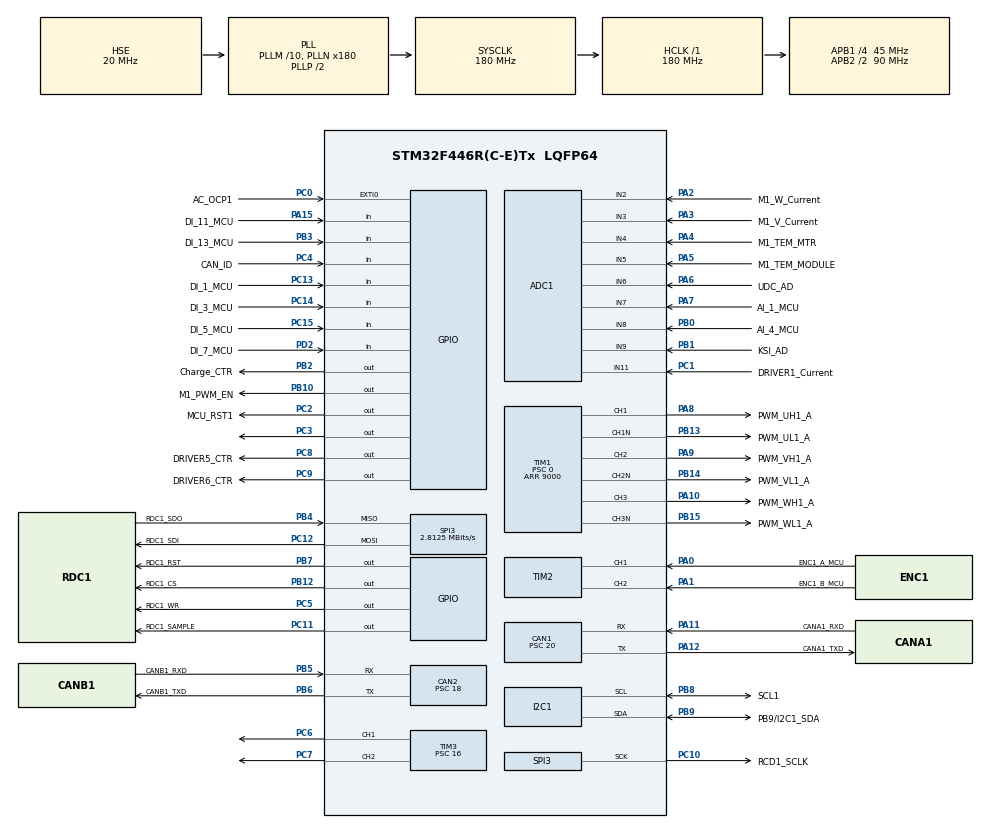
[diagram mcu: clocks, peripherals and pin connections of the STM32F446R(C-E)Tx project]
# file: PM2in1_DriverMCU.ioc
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ADC1.Channel-1\#ChannelRegularConversion=ADC_CHANNEL_TEMPSENSOR
ADC1.Channel-25\#ChannelRegularConversion=ADC_CHANNEL_8
ADC1.Channel-26\#ChannelRegularConversion=ADC_CHANNEL_4
ADC1.Channel-27\#ChannelRegularConversion=ADC_CHANNEL_5
ADC1.Channel-28\#ChannelRegularConversion=ADC_CHANNEL_9
ADC1.Channel-29\#ChannelRegularConversion=ADC_CHANNEL_7
ADC1.Channel-30\#ChannelRegularConversion=ADC_CHANNEL_6
ADC1.Channel-31\#ChannelRegularConversion=ADC_CHANNEL_11
ADC1.Channel-32\#ChannelRegularConversion=ADC_CHANNEL_2
ADC1.Channel-33\#ChannelRegularConversion=ADC_CHANNEL_3
ADC1.DMAContinuousRequests=ENABLE
ADC1.EOCSelection=ADC_EOC_SEQ_CONV
ADC1.EnableAnalogWatchDog=false
ADC1.ExternalTrigConv=ADC_EXTERNALTRIGCONV_T8_TRGO
ADC1.InjNumberOfConversion=0
ADC1.NbrOfConversion=10
ADC1.NbrOfConversionFlag=1
ADC1.Rank-1\#ChannelRegularConversion=1
ADC1.Rank-25\#ChannelRegularConversion=2
ADC1.Rank-26\#ChannelRegularConversion=3
ADC1.Rank-27\#ChannelRegularConversion=4
ADC1.Rank-28\#ChannelRegularConversion=5
ADC1.Rank-29\#ChannelRegularConversion=6
ADC1.Rank-30\#ChannelRegularConversion=7
ADC1.Rank-31\#ChannelRegularConversion=8
ADC1.Rank-32\#ChannelRegularConversion=9
ADC1.Rank-33\#ChannelRegularConversion=10
ADC1.SamplingTime-1\#ChannelRegularConversion=ADC_SAMPLETIME_3CYCLES
ADC1.SamplingTime-25\#ChannelRegularConversion=ADC_SAMPLETIME_3CYCLES
ADC1.SamplingTime-26\#ChannelRegularConversion=ADC_SAMPLETIME_3CYCLES
ADC1.SamplingTime-27\#ChannelRegularConversion=ADC_SAMPLETIME_3CYCLES
ADC1.SamplingTime-28\#ChannelRegularConversion=ADC_SAMPLETIME_3CYCLES
ADC1.SamplingTime-29\#ChannelRegularConversion=ADC_SAMPLETIME_3CYCLES
ADC1.SamplingTime-30\#ChannelRegularConversion=ADC_SAMPLETIME_3CYCLES
ADC1.SamplingTime-31\#ChannelRegularConversion=ADC_SAMPLETIME_3CYCLES
ADC1.SamplingTime-32\#ChannelRegularConversion=ADC_SAMPLETIME_3CYCLES
ADC1.SamplingTime-33\#ChannelRegularConversion=ADC_SAMPLETIME_3CYCLES
ADC1.ScanConvMode=ENABLE
ADC1.master=1
CAN1.ABOM=ENABLE
CAN1.AWUM=ENABLE
CAN1.BS1=CAN_BS1_14TQ
CAN1.BS2=CAN_BS2_3TQ
CAN1.CalculateBaudRate=125000
CAN1.CalculateTimeBit=8000
CAN1.CalculateTimeQuantum=444.44444444444446
CAN1.NART=DISABLE
CAN1.Prescaler=20
CAN2.ABOM=DISABLE
CAN2.AWUM=ENABLE
CAN2.BS1=CAN_BS1_3TQ
CAN2.BS2=CAN_BS2_1TQ
CAN2.CalculateBaudRate=500000
CAN2.CalculateTimeBit=2000
CAN2.CalculateTimeQuantum=400.0
CAN2.Prescaler=18
Dma.ADC1.0.Direction=DMA_PERIPH_TO_MEMORY
Dma.ADC1.0.FIFOMode=DMA_FIFOMODE_DISABLE
Dma.ADC1.0.Instance=DMA2_Stream0
Dma.ADC1.0.MemDataAlignment=DMA_MDATAALIGN_HALFWORD
Dma.ADC1.0.MemInc=DMA_MINC_ENABLE
Dma.ADC1.0.Mode=DMA_CIRCULAR
Dma.ADC1.0.PeriphDataAlignment=DMA_PDATAALIGN_HALFWORD
Dma.ADC1.0.PeriphInc=DMA_PINC_DISABLE
Dma.ADC1.0.Priority=DMA_PRIORITY_LOW
Dma.Request0=ADC1
I2C1.NoStretchMode=I2C_NOSTRETCH_ENABLE
Mcu.Family=STM32F4
Mcu.Name=STM32F446R(C-E)Tx
Mcu.Package=LQFP64
NVIC.CAN1_RX0_IRQn=true\:1\:0\:true\:false\:true\:true\:true\:true
NVIC.CAN2_RX1_IRQn=true\:1\:0\:true\:false\:true\:true\:true\:true
NVIC.DMA2_Stream0_IRQn=true\:0\:0\:false\:false\:true\:false\:true\:true
NVIC.EXTI0_IRQn=true\:0\:0\:false\:false\:true\:true\:true\:true
NVIC.PriorityGroup=NVIC_PRIORITYGROUP_4
NVIC.TIM6_DAC_IRQn=true\:0\:0\:false\:false\:true\:true\:true\:true
PA0-WKUP.GPIO_Label=ENC1_A_MCU
PA0-WKUP.Signal=S_TIM2_CH1_ETR
PA1.GPIO_Label=ENC1_B_MCU
PA1.Signal=S_TIM2_CH2
PA10.GPIO_Label=PWM_WH1_A
PA10.Signal=S_TIM1_CH3
PA11.GPIO_Label=CANA1_RXD
PA11.Mode=CAN_Activate
PA11.Signal=CAN1_RX
PA12.GPIO_Label=CANA1_TXD
PA12.Mode=CAN_Activate
PA12.Signal=CAN1_TX
PA15.GPIO_Label=DI_11_MCU
PA15.Signal=GPIO_Input
PA2.GPIO_Label=M1_W_Current
PA2.Signal=ADCx_IN2
PA3.GPIO_Label=M1_V_Current
PA3.Signal=ADCx_IN3
PA4.GPIO_Label=M1_TEM_MTR
PA4.Signal=ADCx_IN4
PA5.GPIO_Label=M1_TEM_MODULE
PA5.Signal=ADCx_IN5
PA6.GPIO_Label=UDC_AD
PA6.Signal=ADCx_IN6
PA7.GPIO_Label=AI_1_MCU
PA7.Signal=ADCx_IN7
PA8.GPIO_Label=PWM_UH1_A
PA8.Signal=S_TIM1_CH1
PA9.GPIO_Label=PWM_VH1_A
PA9.Signal=S_TIM1_CH2
PB0.GPIO_Label=AI_4_MCU
PB0.Signal=ADCx_IN8
PB1.GPIO_Label=KSI_AD
PB1.Signal=ADCx_IN9
PB10.GPIO_Label=M1_PWM_EN
PB10.Signal=GPIO_Output
PB12.GPIO_Label=RDC1_CS
PB12.Signal=GPIO_Output
PB13.GPIO_Label=PWM_UL1_A
PB13.Mode=PWM Generation1 CH1 CH1N
PB13.Signal=TIM1_CH1N
PB14.GPIO_Label=PWM_VL1_A
PB14.Mode=PWM Generation2 CH2 CH2N
PB14.Signal=TIM1_CH2N
PB15.GPIO_Label=PWM_WL1_A
PB15.Mode=PWM Generation3 CH3 CH3N
PB15.Signal=TIM1_CH3N
PB2.GPIO_Label=Charge_CTR
PB2.Signal=GPIO_Output
PB3.GPIO_Label=DI_13_MCU
PB3.Signal=GPIO_Input
PB4.GPIO_Label=RDC1_SDO
PB4.Mode=Full_Duplex_Master
PB4.Signal=SPI3_MISO
PB5.GPIO_Label=CANB1_RXD
PB5.Mode=CAN_Activate
PB5.Signal=CAN2_RX
PB6.GPIO_Label=CANB1_TXD
PB6.Mode=CAN_Activate
PB6.Signal=CAN2_TX
PB7.GPIO_Label=RDC1_RST
PB7.Signal=GPIO_Output
PB8.GPIO_Label=SCL1
PB8.Mode=I2C
PB8.Signal=I2C1_SCL
PB9.GPIO_Label=PB9/I2C1_SDA
PB9.Mode=I2C
PB9.Signal=I2C1_SDA
PC0.GPIO_Label=AC_OCP1
PC0.GPIO_ModeDefaultEXTI=GPIO_MODE_IT_RISING
PC0.Signal=GPXTI0
PC1.GPIO_Label=DRIVER1_Current
PC1.Signal=ADCx_IN11
PC10.GPIO_Label=RCD1_SCLK
PC10.Mode=Full_Duplex_Master
PC10.Signal=SPI3_SCK
PC11.GPIO_Label=RDC1_SAMPLE
PC11.Signal=GPIO_Output
PC12.GPIO_Label=RDC1_SDI
PC12.Mode=Full_Duplex_Master
PC12.Signal=SPI3_MOSI
PC13.GPIO_Label=DI_1_MCU
PC13.Signal=GPIO_Input
PC14-OSC32_IN.GPIO_Label=DI_3_MCU
PC14-OSC32_IN.Signal=GPIO_Input
PC15-OSC32_OUT.GPIO_Label=DI_5_MCU
PC15-OSC32_OUT.Signal=GPIO_Input
PC2.GPIO_Label=MCU_RST1
PC2.Signal=GPIO_Output
PC3.Signal=GPIO_Output
PC4.GPIO_Label=CAN_ID
PC4.Signal=GPIO_Input
PC5.GPIO_Label=RDC1_WR
PC5.Signal=GPIO_Output
PC6.Signal=S_TIM3_CH1
PC7.Signal=S_TIM3_CH2
PC8.GPIO_Label=DRIVER5_CTR
PC8.Signal=GPIO_Output
PC9.GPIO_Label=DRIVER6_CTR
PC9.Signal=GPIO_Output
PD2.GPIO_Label=DI_7_MCU
PD2.Signal=GPIO_Input
PH0-OSC_IN.Mode=HSE-External-Oscillator
PH0-OSC_IN.Signal=RCC_OSC_IN
PH1-OSC_OUT.Mode=HSE-External-Oscillator
PH1-OSC_OUT.Signal=RCC_OSC_OUT
ProjectManager.HeapSize=0x200
ProjectManager.StackSize=0x400
ProjectManager.TargetToolchain=STM32CubeIDE
RCC.AHBFreq_Value=180000000
RCC.APB1CLKDivider=RCC_HCLK_DIV4
RCC.APB1Freq_Value=45000000
RCC.APB1TimFreq_Value=180000000
RCC.APB2CLKDivider=RCC_HCLK_DIV2
RCC.APB2Freq_Value=90000000
RCC.APB2TimFreq_Value=180000000
RCC.CortexFreq_Value=180000000
RCC.HCLKFreq_Value=180000000
RCC.HSE_VALUE=20000000
RCC.PLLM=10
RCC.PLLN=180
RCC.PLLSourceVirtual=RCC_PLLSOURCE_HSE
RCC.RCC_TIM_PRescaler_Selection=RCC_TIMPRES_ACTIVATED
RCC.SYSCLKFreq_VALUE=180000000
RCC.SYSCLKSource=RCC_SYSCLKSOURCE_PLLCLK
RCC.USBFreq_Value=180000000
RCC.VCOOutputFreq_Value=360000000
SH.ADCx_IN11.0=ADC1_IN11,IN11
SH.ADCx_IN2.0=ADC1_IN2,IN2
SH.ADCx_IN3.0=ADC1_IN3,IN3
SH.ADCx_IN4.0=ADC1_IN4,IN4
SH.ADCx_IN5.0=ADC1_IN5,IN5
SH.ADCx_IN6.0=ADC1_IN6,IN6
SH.ADCx_IN7.0=ADC1_IN7,IN7
SH.ADCx_IN8.0=ADC1_IN8,IN8
SH.ADCx_IN9.0=ADC1_IN9,IN9
SH.S_TIM1_CH1.0=TIM1_CH1,PWM Generation1 CH1 CH1N
SH.S_TIM1_CH2.0=TIM1_CH2,PWM Generation2 CH2 CH2N
SH.S_TIM1_CH3.0=TIM1_CH3,PWM Generation3 CH3 CH3N
SH.S_TIM2_CH1_ETR.0=TIM2_CH1,Encoder_Interface
SH.S_TIM2_CH2.0=TIM2_CH2,Encoder_Interface
SH.S_TIM3_CH1.0=TIM3_CH1,PWM Generation1 CH1
SH.S_TIM3_CH2.0=TIM3_CH2,PWM Generation2 CH2
SPI3.BaudRatePrescaler=SPI_BAUDRATEPRESCALER_16
SPI3.CLKPhase=SPI_PHASE_2EDGE
SPI3.CalculateBaudRate=2.8125 MBits/s
SPI3.Direction=SPI_DIRECTION_2LINES
SPI3.Mode=SPI_MODE_MASTER
SPI3.VirtualType=VM_MASTER
TIM1.Channel-PWM\ Generation1\ CH1\ CH1N=TIM_CHANNEL_1
TIM1.Channel-PWM\ Generation2\ CH2\ CH2N=TIM_CHANNEL_2
TIM1.Channel-PWM\ Generation3\ CH3\ CH3N=TIM_CHANNEL_3
TIM1.CounterMode=TIM_COUNTERMODE_CENTERALIGNED3
TIM1.DeadTime=226
TIM1.OCNPolarity_1=TIM_OCNPOLARITY_HIGH
TIM1.OCNPolarity_2=TIM_OCNPOLARITY_HIGH
TIM1.OCNPolarity_3=TIM_OCNPOLARITY_HIGH
TIM1.Period=9000
TIM1.Prescaler=0
TIM2.EncoderMode=TIM_ENCODERMODE_TI12
TIM3.AutoReloadPreload=TIM_AUTORELOAD_PRELOAD_ENABLE
TIM3.Channel-PWM\ Generation1\ CH1=TIM_CHANNEL_1
TIM3.Channel-PWM\ Generation2\ CH2=TIM_CHANNEL_2
TIM3.Period=9999
TIM3.Prescaler=16
TIM6.AutoReloadPreload=TIM_AUTORELOAD_PRELOAD_ENABLE
TIM6.Period=8999
TIM6.Prescaler=9
TIM8.CounterMode=TIM_COUNTERMODE_CENTERALIGNED3
TIM8.Period=18000
TIM8.TIM_MasterOutputTrigger=TIM_TRGO_UPDATE
TIM8.TIM_MasterSlaveMode=TIM_MASTERSLAVEMODE_DISABLE
VP_ADC1_TempSens_Input.Mode=IN-TempSens
VP_TIM1_VS_ClockSourceINT.Mode=Internal
VP_TIM3_VS_ClockSourceINT.Mode=Internal
VP_TIM6_VS_ClockSourceINT.Mode=Enable_Timer
VP_TIM8_VS_ClockSourceINT.Mode=Internal
board=custom

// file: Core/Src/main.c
/* USER CODE BEGIN Header */
/**
  ******************************************************************************
  * @file           : main.c
  * @brief          : Main program body
  ******************************************************************************
  * @attention
  *
  * Copyright (c) 2025 STMicroelectronics.
  * All rights reserved.
  *
  * This software is licensed under terms that can be found in the LICENSE file
  * in the root directory of this software component.
  * If no LICENSE file comes with this software, it is provided AS-IS.
  *
  ******************************************************************************
  */
/* USER CODE END Header */
#include "main.h"

/* USER CODE BEGIN Includes */
#include "can_cfg.h"
#include "can2_cfg.h"
#include "VehicleCtrl.h"
#include "f_public.h"
#include "tp.h"
#include "uds.h"
/* USER CODE END Includes */

ADC_HandleTypeDef hadc1;
DMA_HandleTypeDef hdma_adc1;

CAN_HandleTypeDef hcan1;
CAN_HandleTypeDef hcan2;

I2C_HandleTypeDef hi2c1;

SPI_HandleTypeDef hspi3;

TIM_HandleTypeDef htim1;
TIM_HandleTypeDef htim2;
TIM_HandleTypeDef htim3;
TIM_HandleTypeDef htim6;
TIM_HandleTypeDef htim8;

void SystemClock_Config(void);
void PeriphCommonClock_Config(void);
static void MX_GPIO_Init(void);
static void MX_DMA_Init(void);
static void MX_ADC1_Init(void);
static void MX_CAN1_Init(void);
static void MX_CAN2_Init(void);
static void MX_I2C1_Init(void);
static void MX_SPI3_Init(void);
static void MX_TIM1_Init(void);
static void MX_TIM2_Init(void);
static void MX_TIM3_Init(void);
static void MX_TIM8_Init(void);
static void MX_TIM6_Init(void);

/* USER CODE BEGIN 0 */
unsigned int ms_cnt=0;
 uint16_t uhADCxConvertedValue[12] = {0};
 extern HAL_StatusTypeDef CAN_Polling(void);
Uint8 McuRstFlg=0;
 extern  int    CanBusssoffCnt;
 uint16_t tec_num=0,rec_num=0;
/* USER CODE END 0 */

int main(void)
{

  /* USER CODE BEGIN 1 */
//uint16_t tmp=0;
//uint32_t tmp32=0;
  /* USER CODE END 1 */

  /* MCU Configuration--------------------------------------------------------*/

  /* Reset of all peripherals, Initializes the Flash interface and the Systick. */
  HAL_Init();

  /* Configure the system clock */
  SystemClock_Config();

  /* Configure the peripherals common clocks */
  PeriphCommonClock_Config();

  /* Initialize all configured peripherals */
  MX_GPIO_Init();
  MX_DMA_Init();
  MX_ADC1_Init();
  MX_CAN1_Init();
  MX_CAN2_Init();
  MX_I2C1_Init();
  MX_SPI3_Init();
  MX_TIM1_Init();
  MX_TIM2_Init();
  MX_TIM3_Init();
  MX_TIM8_Init();
  MX_TIM6_Init();
  /* USER CODE BEGIN 2 */
  McuRstFlg = 0;
  HAL_GPIO_WritePin(GPIOC,GPIO_PIN_2,GPIO_PIN_RESET);
  CAN1_Rx_Msg_Init();
  CAN1_Tx_Msg_Init();
  CAN2_Rx_Msg_Init();
  CAN2_Tx_Msg_Init();
  HAL_GPIO_WritePin(GPIOC,GPIO_PIN_2,GPIO_PIN_SET);
  McuRstFlg = 1;
  VehicleCtrlInit();
  MS5910_Init();
  HAL_NVIC_SetPriority(EXTI0_IRQn, 0, 0);
  HAL_NVIC_EnableIRQ(EXTI0_IRQn);
//   HAL_TIM_PWM_Start(&htim1, TIM_CHANNEL_1);
//   HAL_TIMEx_PWMN_Start(&htim1, TIM_CHANNEL_1);
//   HAL_TIM_PWM_Start(&htim1, TIM_CHANNEL_2);
//   HAL_TIMEx_PWMN_Start(&htim1, TIM_CHANNEL_2);
//   HAL_TIM_PWM_Start(&htim1, TIM_CHANNEL_3);
//   HAL_TIMEx_PWMN_Start(&htim1, TIM_CHANNEL_3);
   NvmReadAllData();
   InitForMotorApp();                  // 变量初始化（电流电压基值等硬件参数配置，和电机参数配置等）Step 4. User specific code
   HAL_TIM_Base_Start(&htim1);
   HAL_TIM_Base_Start(&htim8);
  HAL_TIM_PWM_Start(&htim3, TIM_CHANNEL_1);

   HAL_NVIC_SetPriority(TIM6_DAC_IRQn, 0, 0);  // 设置优先级
   HAL_NVIC_EnableIRQ(TIM6_DAC_IRQn);  // 使能中断
   HAL_TIM_Base_Start_IT(&htim6);

   /* Clear FIFO0 Overrun Flag */
   __HAL_CAN_CLEAR_FLAG(&hcan1, CAN_FLAG_FOV0);
   /* Clear FIFO 0 full Flag */
   __HAL_CAN_CLEAR_FLAG(&hcan1, CAN_FLAG_FF0);
  /* USER CODE END 2 */

  /* Infinite loop */
  /* USER CODE BEGIN WHILE */
   UDS_InitTask();
   TP_InitTask();
  while (1)
  {
    /* USER CODE END WHILE */

    /* USER CODE BEGIN 3 */
//	  HAL_IWDG_Refresh(&hiwdg);

	  TP_MainTask();
	  tec_num = ((CAN1->ESR)&0xFF000000)>>24;
	  rec_num = ((CAN1->ESR)&0x00FF0000)>>16;
	  if((HAL_CAN_GetError(&hcan1)== HAL_CAN_ERROR_BOF)||(HAL_CAN_GetError(&hcan1)== HAL_CAN_ERROR_EPV) || (CanBusssoffCnt >= 1500))
	  {
		  CanBusssoffCnt = 0;
		  HAL_CAN_DeInit(&hcan1);
		  MX_CAN1_Init();
		  CAN1_Rx_Msg_Init();
		  CAN1_Tx_Msg_Init();
	  }

		Can1_Rx_Process();

		Can2_Rx_Process();
	  if(ms_cnt >=2)		/* 4*0.5ms = 2ms */
	  {
		  ms_cnt=0;
		  Main2msMotor();
	  }
	if(Count2ms >= 2)
	{
		Can1_Tx_Message();
		UDS_MainTask();
		Count2ms = 0;
	}
	if(Count10ms >= 10)
	{
		Count10ms = 0;
		Can1_Tx_Process();
	}
	if(Count20ms >= 40)
	{
		Count20ms = 0;
	}
	if(Count50ms >= 100)
	{
		Count50ms = 0;
	}
	if(Count100ms >= 200)
	{
		Count100ms = 0;
    VehicleCtrlTboxBind​();
//		parameter_update();
	}
  }
  /* USER CODE END 3 */
}

void SystemClock_Config(void)
{
  RCC_OscInitTypeDef RCC_OscInitStruct = {0};
  RCC_ClkInitTypeDef RCC_ClkInitStruct = {0};

  /** Configure the main internal regulator output voltage
  */
  __HAL_RCC_PWR_CLK_ENABLE();
  __HAL_PWR_VOLTAGESCALING_CONFIG(PWR_REGULATOR_VOLTAGE_SCALE1);

  /** Initializes the RCC Oscillators according to the specified parameters
  * in the RCC_OscInitTypeDef structure.
  */
  RCC_OscInitStruct.OscillatorType = RCC_OSCILLATORTYPE_HSE;
  RCC_OscInitStruct.HSEState = RCC_HSE_ON;
  RCC_OscInitStruct.PLL.PLLState = RCC_PLL_ON;
  RCC_OscInitStruct.PLL.PLLSource = RCC_PLLSOURCE_HSE;
  RCC_OscInitStruct.PLL.PLLM = 10;
  RCC_OscInitStruct.PLL.PLLN = 180;
  RCC_OscInitStruct.PLL.PLLP = RCC_PLLP_DIV2;
  RCC_OscInitStruct.PLL.PLLQ = 2;
  RCC_OscInitStruct.PLL.PLLR = 2;
  if (HAL_RCC_OscConfig(&RCC_OscInitStruct) != HAL_OK)
  {
    Error_Handler();
  }

  /** Activate the Over-Drive mode
  */
  if (HAL_PWREx_EnableOverDrive() != HAL_OK)
  {
    Error_Handler();
  }

  /** Initializes the CPU, AHB and APB buses clocks
  */
  RCC_ClkInitStruct.ClockType = RCC_CLOCKTYPE_HCLK|RCC_CLOCKTYPE_SYSCLK
                              |RCC_CLOCKTYPE_PCLK1|RCC_CLOCKTYPE_PCLK2;
  RCC_ClkInitStruct.SYSCLKSource = RCC_SYSCLKSOURCE_PLLCLK;
  RCC_ClkInitStruct.AHBCLKDivider = RCC_SYSCLK_DIV1;
  RCC_ClkInitStruct.APB1CLKDivider = RCC_HCLK_DIV4;
  RCC_ClkInitStruct.APB2CLKDivider = RCC_HCLK_DIV2;

  if (HAL_RCC_ClockConfig(&RCC_ClkInitStruct, FLASH_LATENCY_5) != HAL_OK)
  {
    Error_Handler();
  }
}

void PeriphCommonClock_Config(void)
{
  RCC_PeriphCLKInitTypeDef PeriphClkInitStruct = {0};

  /** Initializes the peripherals clock
  */
  PeriphClkInitStruct.PeriphClockSelection = RCC_PERIPHCLK_TIM;
  PeriphClkInitStruct.TIMPresSelection = RCC_TIMPRES_ACTIVATED;
  if (HAL_RCCEx_PeriphCLKConfig(&PeriphClkInitStruct) != HAL_OK)
  {
    Error_Handler();
  }
}

static void MX_ADC1_Init(void)
{

  ADC_ChannelConfTypeDef sConfig = {0};

  /** Configure the global features of the ADC (Clock, Resolution, Data Alignment and number of conversion)
  */
  hadc1.Instance = ADC1;
  hadc1.Init.ClockPrescaler = ADC_CLOCK_SYNC_PCLK_DIV4;
  hadc1.Init.Resolution = ADC_RESOLUTION_12B;
  hadc1.Init.ScanConvMode = ENABLE;
  hadc1.Init.ContinuousConvMode = DISABLE;
  hadc1.Init.DiscontinuousConvMode = DISABLE;
  hadc1.Init.ExternalTrigConvEdge = ADC_EXTERNALTRIGCONVEDGE_RISING;
  hadc1.Init.ExternalTrigConv = ADC_EXTERNALTRIGCONV_T8_TRGO;
  hadc1.Init.DataAlign = ADC_DATAALIGN_RIGHT;
  hadc1.Init.NbrOfConversion = 10;
  hadc1.Init.DMAContinuousRequests = ENABLE;
  hadc1.Init.EOCSelection = ADC_EOC_SEQ_CONV;
  if (HAL_ADC_Init(&hadc1) != HAL_OK)
  {
    Error_Handler();
  }

  /** Configure for the selected ADC regular channel its corresponding rank in the sequencer and its sample time.
  */
  sConfig.Channel = ADC_CHANNEL_TEMPSENSOR;
  sConfig.Rank = 1;
  sConfig.SamplingTime = ADC_SAMPLETIME_3CYCLES;
  if (HAL_ADC_ConfigChannel(&hadc1, &sConfig) != HAL_OK)
  {
    Error_Handler();
  }

  /** Configure for the selected ADC regular channel its corresponding rank in the sequencer and its sample time.
  */
  sConfig.Channel = ADC_CHANNEL_8;
  sConfig.Rank = 2;
  if (HAL_ADC_ConfigChannel(&hadc1, &sConfig) != HAL_OK)
  {
    Error_Handler();
  }

  /** Configure for the selected ADC regular channel its corresponding rank in the sequencer and its sample time.
  */
  sConfig.Channel = ADC_CHANNEL_4;
  sConfig.Rank = 3;
  if (HAL_ADC_ConfigChannel(&hadc1, &sConfig) != HAL_OK)
  {
    Error_Handler();
  }

  /** Configure for the selected ADC regular channel its corresponding rank in the sequencer and its sample time.
  */
  sConfig.Channel = ADC_CHANNEL_5;
  sConfig.Rank = 4;
  if (HAL_ADC_ConfigChannel(&hadc1, &sConfig) != HAL_OK)
  {
    Error_Handler();
  }

  /** Configure for the selected ADC regular channel its corresponding rank in the sequencer and its sample time.
  */
  sConfig.Channel = ADC_CHANNEL_9;
  sConfig.Rank = 5;
  if (HAL_ADC_ConfigChannel(&hadc1, &sConfig) != HAL_OK)
  {
    Error_Handler();
  }

  /** Configure for the selected ADC regular channel its corresponding rank in the sequencer and its sample time.
  */
  sConfig.Channel = ADC_CHANNEL_7;
  sConfig.Rank = 6;
  if (HAL_ADC_ConfigChannel(&hadc1, &sConfig) != HAL_OK)
  {
    Error_Handler();
  }

  /** Configure for the selected ADC regular channel its corresponding rank in the sequencer and its sample time.
  */
  sConfig.Channel = ADC_CHANNEL_6;
  sConfig.Rank = 7;
  if (HAL_ADC_ConfigChannel(&hadc1, &sConfig) != HAL_OK)
  {
    Error_Handler();
  }

  /** Configure for the selected ADC regular channel its corresponding rank in the sequencer and its sample time.
  */
  sConfig.Channel = ADC_CHANNEL_11;
  sConfig.Rank = 8;
  if (HAL_ADC_ConfigChannel(&hadc1, &sConfig) != HAL_OK)
  {
    Error_Handler();
  }

  /** Configure for the selected ADC regular channel its corresponding rank in the sequencer and its sample time.
  */
  sConfig.Channel = ADC_CHANNEL_2;
  sConfig.Rank = 9;
  if (HAL_ADC_ConfigChannel(&hadc1, &sConfig) != HAL_OK)
  {
    Error_Handler();
  }

  /** Configure for the selected ADC regular channel its corresponding rank in the sequencer and its sample time.
  */
  sConfig.Channel = ADC_CHANNEL_3;
  sConfig.Rank = 10;
  if (HAL_ADC_ConfigChannel(&hadc1, &sConfig) != HAL_OK)
  {
    Error_Handler();
  }
  /* USER CODE BEGIN ADC1_Init 2 */

  if(HAL_ADC_Start_DMA(&hadc1, (uint32_t*)&uhADCxConvertedValue[0], 10) != HAL_OK)
  {
    /* Start Conversation Error */
    Error_Handler();
  }
  /* USER CODE END ADC1_Init 2 */

}

static void MX_CAN1_Init(void)
{

  hcan1.Instance = CAN1;
  hcan1.Init.Prescaler = 20;
  hcan1.Init.Mode = CAN_MODE_NORMAL;
  hcan1.Init.SyncJumpWidth = CAN_SJW_1TQ;
  hcan1.Init.TimeSeg1 = CAN_BS1_14TQ;
  hcan1.Init.TimeSeg2 = CAN_BS2_3TQ;
  hcan1.Init.TimeTriggeredMode = DISABLE;
  hcan1.Init.AutoBusOff = ENABLE;
  hcan1.Init.AutoWakeUp = ENABLE;
  hcan1.Init.AutoRetransmission = DISABLE;
  hcan1.Init.ReceiveFifoLocked = DISABLE;
  hcan1.Init.TransmitFifoPriority = DISABLE;
  if (HAL_CAN_Init(&hcan1) != HAL_OK)
  {
    Error_Handler();
  }

}

static void MX_CAN2_Init(void)
{

  hcan2.Instance = CAN2;
  hcan2.Init.Prescaler = 18;
  hcan2.Init.Mode = CAN_MODE_NORMAL;
  hcan2.Init.SyncJumpWidth = CAN_SJW_1TQ;
  hcan2.Init.TimeSeg1 = CAN_BS1_3TQ;
  hcan2.Init.TimeSeg2 = CAN_BS2_1TQ;
  hcan2.Init.TimeTriggeredMode = DISABLE;
  hcan2.Init.AutoBusOff = DISABLE;
  hcan2.Init.AutoWakeUp = ENABLE;
  hcan2.Init.AutoRetransmission = DISABLE;
  hcan2.Init.ReceiveFifoLocked = DISABLE;
  hcan2.Init.TransmitFifoPriority = DISABLE;
  if (HAL_CAN_Init(&hcan2) != HAL_OK)
  {
    Error_Handler();
  }

}

static void MX_I2C1_Init(void)
{

  hi2c1.Instance = I2C1;
  hi2c1.Init.ClockSpeed = 100000;
  hi2c1.Init.DutyCycle = I2C_DUTYCYCLE_2;
  hi2c1.Init.OwnAddress1 = 0;
  hi2c1.Init.AddressingMode = I2C_ADDRESSINGMODE_7BIT;
  hi2c1.Init.DualAddressMode = I2C_DUALADDRESS_DISABLE;
  hi2c1.Init.OwnAddress2 = 0;
  hi2c1.Init.GeneralCallMode = I2C_GENERALCALL_DISABLE;
  hi2c1.Init.NoStretchMode = I2C_NOSTRETCH_ENABLE;
  if (HAL_I2C_Init(&hi2c1) != HAL_OK)
  {
    Error_Handler();
  }

}

static void MX_SPI3_Init(void)
{

  /* SPI3 parameter configuration*/
  hspi3.Instance = SPI3;
  hspi3.Init.Mode = SPI_MODE_MASTER;
  hspi3.Init.Direction = SPI_DIRECTION_2LINES;
  hspi3.Init.DataSize = SPI_DATASIZE_8BIT;
  hspi3.Init.CLKPolarity = SPI_POLARITY_LOW;
  hspi3.Init.CLKPhase = SPI_PHASE_2EDGE;
  hspi3.Init.NSS = SPI_NSS_SOFT;
  hspi3.Init.BaudRatePrescaler = SPI_BAUDRATEPRESCALER_16;
  hspi3.Init.FirstBit = SPI_FIRSTBIT_MSB;
  hspi3.Init.TIMode = SPI_TIMODE_DISABLE;
  hspi3.Init.CRCCalculation = SPI_CRCCALCULATION_DISABLE;
  hspi3.Init.CRCPolynomial = 10;
  if (HAL_SPI_Init(&hspi3) != HAL_OK)
  {
    Error_Handler();
  }

}

static void MX_TIM1_Init(void)
{

  TIM_ClockConfigTypeDef sClockSourceConfig = {0};
  TIM_MasterConfigTypeDef sMasterConfig = {0};
  TIM_OC_InitTypeDef sConfigOC = {0};
  TIM_BreakDeadTimeConfigTypeDef sBreakDeadTimeConfig = {0};

  htim1.Instance = TIM1;
  htim1.Init.Prescaler = 0;
  htim1.Init.CounterMode = TIM_COUNTERMODE_CENTERALIGNED3;
  htim1.Init.Period = 9000;
  htim1.Init.ClockDivision = TIM_CLOCKDIVISION_DIV1;
  htim1.Init.RepetitionCounter = 0;
  htim1.Init.AutoReloadPreload = TIM_AUTORELOAD_PRELOAD_DISABLE;
  if (HAL_TIM_Base_Init(&htim1) != HAL_OK)
  {
    Error_Handler();
  }
  sClockSourceConfig.ClockSource = TIM_CLOCKSOURCE_INTERNAL;
  if (HAL_TIM_ConfigClockSource(&htim1, &sClockSourceConfig) != HAL_OK)
  {
    Error_Handler();
  }
  if (HAL_TIM_PWM_Init(&htim1) != HAL_OK)
  {
    Error_Handler();
  }
  sMasterConfig.MasterOutputTrigger = TIM_TRGO_RESET;
  sMasterConfig.MasterSlaveMode = TIM_MASTERSLAVEMODE_DISABLE;
  if (HAL_TIMEx_MasterConfigSynchronization(&htim1, &sMasterConfig) != HAL_OK)
  {
    Error_Handler();
  }
  sConfigOC.OCMode = TIM_OCMODE_PWM1;
  sConfigOC.Pulse = 0;
  sConfigOC.OCPolarity = TIM_OCPOLARITY_HIGH;
  sConfigOC.OCNPolarity = TIM_OCNPOLARITY_HIGH;
  sConfigOC.OCFastMode = TIM_OCFAST_DISABLE;
  sConfigOC.OCIdleState = TIM_OCIDLESTATE_RESET;
  sConfigOC.OCNIdleState = TIM_OCNIDLESTATE_RESET;
  if (HAL_TIM_PWM_ConfigChannel(&htim1, &sConfigOC, TIM_CHANNEL_1) != HAL_OK)
  {
    Error_Handler();
  }
  if (HAL_TIM_PWM_ConfigChannel(&htim1, &sConfigOC, TIM_CHANNEL_2) != HAL_OK)
  {
    Error_Handler();
  }
  if (HAL_TIM_PWM_ConfigChannel(&htim1, &sConfigOC, TIM_CHANNEL_3) != HAL_OK)
  {
    Error_Handler();
  }
  sBreakDeadTimeConfig.OffStateRunMode = TIM_OSSR_DISABLE;
  sBreakDeadTimeConfig.OffStateIDLEMode = TIM_OSSI_DISABLE;
  sBreakDeadTimeConfig.LockLevel = TIM_LOCKLEVEL_OFF;
  sBreakDeadTimeConfig.DeadTime = 226;
  sBreakDeadTimeConfig.BreakState = TIM_BREAK_DISABLE;
  sBreakDeadTimeConfig.BreakPolarity = TIM_BREAKPOLARITY_HIGH;
  sBreakDeadTimeConfig.AutomaticOutput = TIM_AUTOMATICOUTPUT_DISABLE;
  if (HAL_TIMEx_ConfigBreakDeadTime(&htim1, &sBreakDeadTimeConfig) != HAL_OK)
  {
    Error_Handler();
  }
  /* USER CODE BEGIN TIM1_Init 2 */

  HAL_TIM_PWM_Init(&htim1);
  HAL_TIM_MspPostInit(&htim1);

  /* USER CODE END TIM1_Init 2 */
  HAL_TIM_MspPostInit(&htim1);

}

static void MX_TIM2_Init(void)
{

  TIM_Encoder_InitTypeDef sConfig = {0};
  TIM_MasterConfigTypeDef sMasterConfig = {0};

  htim2.Instance = TIM2;
  htim2.Init.Prescaler = 0;
  htim2.Init.CounterMode = TIM_COUNTERMODE_UP;
  htim2.Init.Period = 4294967295;
  htim2.Init.ClockDivision = TIM_CLOCKDIVISION_DIV1;
  htim2.Init.AutoReloadPreload = TIM_AUTORELOAD_PRELOAD_DISABLE;
  sConfig.EncoderMode = TIM_ENCODERMODE_TI12;
  sConfig.IC1Polarity = TIM_ICPOLARITY_RISING;
  sConfig.IC1Selection = TIM_ICSELECTION_DIRECTTI;
  sConfig.IC1Prescaler = TIM_ICPSC_DIV1;
  sConfig.IC1Filter = 0;
  sConfig.IC2Polarity = TIM_ICPOLARITY_RISING;
  sConfig.IC2Selection = TIM_ICSELECTION_DIRECTTI;
  sConfig.IC2Prescaler = TIM_ICPSC_DIV1;
  sConfig.IC2Filter = 0;
  if (HAL_TIM_Encoder_Init(&htim2, &sConfig) != HAL_OK)
  {
    Error_Handler();
  }
  sMasterConfig.MasterOutputTrigger = TIM_TRGO_RESET;
  sMasterConfig.MasterSlaveMode = TIM_MASTERSLAVEMODE_DISABLE;
  if (HAL_TIMEx_MasterConfigSynchronization(&htim2, &sMasterConfig) != HAL_OK)
  {
    Error_Handler();
  }

}

static void MX_TIM3_Init(void)
{

  /* USER CODE BEGIN TIM3_Init 0 */
	/*Configure the TIM3 IRQ priority */
	HAL_NVIC_SetPriority(TIM3_IRQn, 2 ,0U);

	/* Enable the TIM3 global Interrupt */
	HAL_NVIC_EnableIRQ(TIM3_IRQn);

  /* USER CODE END TIM3_Init 0 */

  TIM_ClockConfigTypeDef sClockSourceConfig = {0};
  TIM_MasterConfigTypeDef sMasterConfig = {0};
  TIM_OC_InitTypeDef sConfigOC = {0};

  htim3.Instance = TIM3;
  htim3.Init.Prescaler = 16;
  htim3.Init.CounterMode = TIM_COUNTERMODE_UP;
  htim3.Init.Period = 9999;
  htim3.Init.ClockDivision = TIM_CLOCKDIVISION_DIV1;
  htim3.Init.AutoReloadPreload = TIM_AUTORELOAD_PRELOAD_ENABLE;
  if (HAL_TIM_Base_Init(&htim3) != HAL_OK)
  {
    Error_Handler();
  }
  sClockSourceConfig.ClockSource = TIM_CLOCKSOURCE_INTERNAL;
  if (HAL_TIM_ConfigClockSource(&htim3, &sClockSourceConfig) != HAL_OK)
  {
    Error_Handler();
  }
  if (HAL_TIM_PWM_Init(&htim3) != HAL_OK)
  {
    Error_Handler();
  }
  sMasterConfig.MasterOutputTrigger = TIM_TRGO_RESET;
  sMasterConfig.MasterSlaveMode = TIM_MASTERSLAVEMODE_DISABLE;
  if (HAL_TIMEx_MasterConfigSynchronization(&htim3, &sMasterConfig) != HAL_OK)
  {
    Error_Handler();
  }
  sConfigOC.OCMode = TIM_OCMODE_PWM1;
  sConfigOC.Pulse = 0;
  sConfigOC.OCPolarity = TIM_OCPOLARITY_HIGH;
  sConfigOC.OCFastMode = TIM_OCFAST_DISABLE;
  if (HAL_TIM_PWM_ConfigChannel(&htim3, &sConfigOC, TIM_CHANNEL_1) != HAL_OK)
  {
    Error_Handler();
  }
  if (HAL_TIM_PWM_ConfigChannel(&htim3, &sConfigOC, TIM_CHANNEL_2) != HAL_OK)
  {
    Error_Handler();
  }
  HAL_TIM_MspPostInit(&htim3);

}

static void MX_TIM6_Init(void)
{

  TIM_MasterConfigTypeDef sMasterConfig = {0};

  htim6.Instance = TIM6;
  htim6.Init.Prescaler = 179;  //9   180Mhz / 180 = 1Mhz
  htim6.Init.CounterMode = TIM_COUNTERMODE_UP;
  htim6.Init.Period = 9;      //8999  10us
  htim6.Init.AutoReloadPreload = TIM_AUTORELOAD_PRELOAD_ENABLE;
  if (HAL_TIM_Base_Init(&htim6) != HAL_OK)
  {
    Error_Handler();
  }
  sMasterConfig.MasterOutputTrigger = TIM_TRGO_RESET;
  sMasterConfig.MasterSlaveMode = TIM_MASTERSLAVEMODE_DISABLE;
  if (HAL_TIMEx_MasterConfigSynchronization(&htim6, &sMasterConfig) != HAL_OK)
  {
    Error_Handler();
  }

}

static void MX_TIM8_Init(void)
{

  TIM_ClockConfigTypeDef sClockSourceConfig = {0};
  TIM_MasterConfigTypeDef sMasterConfig = {0};

  htim8.Instance = TIM8;
  htim8.Init.Prescaler = 0;
  htim8.Init.CounterMode = TIM_COUNTERMODE_CENTERALIGNED3;
  htim8.Init.Period = 18000;
  htim8.Init.ClockDivision = TIM_CLOCKDIVISION_DIV1;
  htim8.Init.RepetitionCounter = 0;
  htim8.Init.AutoReloadPreload = TIM_AUTORELOAD_PRELOAD_DISABLE;
  if (HAL_TIM_Base_Init(&htim8) != HAL_OK)
  {
    Error_Handler();
  }
  sClockSourceConfig.ClockSource = TIM_CLOCKSOURCE_INTERNAL;
  if (HAL_TIM_ConfigClockSource(&htim8, &sClockSourceConfig) != HAL_OK)
  {
    Error_Handler();
  }
  sMasterConfig.MasterOutputTrigger = TIM_TRGO_UPDATE;
  sMasterConfig.MasterSlaveMode = TIM_MASTERSLAVEMODE_DISABLE;
  if (HAL_TIMEx_MasterConfigSynchronization(&htim8, &sMasterConfig) != HAL_OK)
  {
    Error_Handler();
  }

}

static void MX_DMA_Init(void)
{

  /* DMA controller clock enable */
  __HAL_RCC_DMA2_CLK_ENABLE();

  /* DMA interrupt init */
  /* DMA2_Stream0_IRQn interrupt configuration */
  HAL_NVIC_SetPriority(DMA2_Stream0_IRQn, 0, 0);
  HAL_NVIC_EnableIRQ(DMA2_Stream0_IRQn);

}

static void MX_GPIO_Init(void)
{
  GPIO_InitTypeDef GPIO_InitStruct = {0};

  /* GPIO Ports Clock Enable */
  __HAL_RCC_GPIOC_CLK_ENABLE();
  __HAL_RCC_GPIOH_CLK_ENABLE();
  __HAL_RCC_GPIOA_CLK_ENABLE();
  __HAL_RCC_GPIOB_CLK_ENABLE();
  __HAL_RCC_GPIOD_CLK_ENABLE();

  /*Configure GPIO pin Output Level */
  HAL_GPIO_WritePin(GPIOC, MCU_RST1_Pin|GPIO_PIN_3|RDC1_WR_Pin|DRIVER5_CTR_Pin
                          |DRIVER6_CTR_Pin|RDC1_SAMPLE_Pin, GPIO_PIN_RESET);

  /*Configure GPIO pin Output Level */
  HAL_GPIO_WritePin(GPIOB, Charge_CTR_Pin|M1_PWM_EN_Pin|RDC1_CS_Pin|RDC1_RST_Pin, GPIO_PIN_RESET);

  /*Configure GPIO pins : DI_1_MCU_Pin DI_3_MCU_Pin DI_5_MCU_Pin CAN_ID_Pin */
  GPIO_InitStruct.Pin = DI_3_MCU_Pin|DI_5_MCU_Pin|CAN_ID_Pin;
  GPIO_InitStruct.Mode = GPIO_MODE_INPUT;
  GPIO_InitStruct.Pull = GPIO_NOPULL;
  HAL_GPIO_Init(GPIOC, &GPIO_InitStruct);

  /*Configure GPIO pins : DI_1_MCU_Pin */
  GPIO_InitStruct.Pin = DI_1_MCU_Pin;
  GPIO_InitStruct.Mode = GPIO_MODE_OUTPUT_PP;
  GPIO_InitStruct.Pull = GPIO_NOPULL;
  HAL_GPIO_Init(GPIOC, &GPIO_InitStruct);

  /*Configure GPIO pin : AC_OCP1_Pin */
  GPIO_InitStruct.Pin = AC_OCP1_Pin;
  GPIO_InitStruct.Mode = GPIO_MODE_IT_RISING;
  GPIO_InitStruct.Pull = GPIO_NOPULL;
  HAL_GPIO_Init(AC_OCP1_GPIO_Port, &GPIO_InitStruct);

  /*Configure GPIO pins : MCU_RST1_Pin PC3 RDC1_WR_Pin DRIVER5_CTR_Pin
                           DRIVER6_CTR_Pin RDC1_SAMPLE_Pin */
  GPIO_InitStruct.Pin = MCU_RST1_Pin|GPIO_PIN_3|RDC1_WR_Pin|DRIVER5_CTR_Pin
                          |DRIVER6_CTR_Pin|RDC1_SAMPLE_Pin;
  GPIO_InitStruct.Mode = GPIO_MODE_OUTPUT_PP;
  GPIO_InitStruct.Pull = GPIO_NOPULL;
  GPIO_InitStruct.Speed = GPIO_SPEED_FREQ_LOW;
  HAL_GPIO_Init(GPIOC, &GPIO_InitStruct);

  /*Configure GPIO pins : Charge_CTR_Pin M1_PWM_EN_Pin RDC1_CS_Pin RDC1_RST_Pin */
  GPIO_InitStruct.Pin = Charge_CTR_Pin|M1_PWM_EN_Pin|RDC1_CS_Pin|RDC1_RST_Pin;
  GPIO_InitStruct.Mode = GPIO_MODE_OUTPUT_PP;
  GPIO_InitStruct.Pull = GPIO_NOPULL;
  GPIO_InitStruct.Speed = GPIO_SPEED_FREQ_LOW;
  HAL_GPIO_Init(GPIOB, &GPIO_InitStruct);

  /*Configure GPIO pin : DI_11_MCU_Pin */
  GPIO_InitStruct.Pin = DI_11_MCU_Pin;
  GPIO_InitStruct.Mode = GPIO_MODE_INPUT;
  GPIO_InitStruct.Pull = GPIO_NOPULL;
  HAL_GPIO_Init(DI_11_MCU_GPIO_Port, &GPIO_InitStruct);

  /*Configure GPIO pin : DI_7_MCU_Pin */
  GPIO_InitStruct.Pin = DI_7_MCU_Pin;
  GPIO_InitStruct.Mode = GPIO_MODE_INPUT;
  GPIO_InitStruct.Pull = GPIO_NOPULL;
  HAL_GPIO_Init(DI_7_MCU_GPIO_Port, &GPIO_InitStruct);

  /*Configure GPIO pin : DI_13_MCU_Pin */
  GPIO_InitStruct.Pin = DI_13_MCU_Pin;
  GPIO_InitStruct.Mode = GPIO_MODE_INPUT;
  GPIO_InitStruct.Pull = GPIO_NOPULL;
  HAL_GPIO_Init(DI_13_MCU_GPIO_Port, &GPIO_InitStruct);

  /* EXTI interrupt init*/
  HAL_NVIC_SetPriority(EXTI0_IRQn, 0, 0);
  HAL_NVIC_EnableIRQ(EXTI0_IRQn);

  /* USER CODE BEGIN MX_GPIO_Init_2 */
  HAL_GPIO_WritePin(GPIOC, GPIO_PIN_9, GPIO_PIN_RESET);
  /* USER CODE END MX_GPIO_Init_2 */
}

void Error_Handler(void)
{
  /* USER CODE BEGIN Error_Handler_Debug */
  /* User can add his own implementation to report the HAL error return state */
  //__disable_irq();
  //while (1)
  //{
  //}
  /* USER CODE END Error_Handler_Debug */
}
